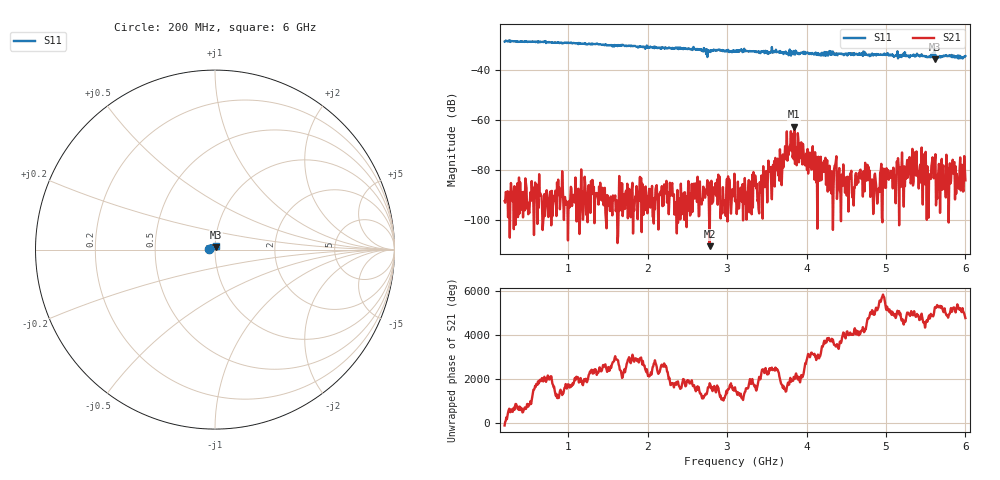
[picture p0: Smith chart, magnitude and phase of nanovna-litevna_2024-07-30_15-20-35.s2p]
! NanoVNA-App by OneOfEleven et al v1.1.209 (+OD15)
! Date: 2024-07-30 15:20:38
! Start: 200MHz Stop: 6GHz Points: 801
! S-Parameter data: F S11 S21 S12 S22
# Hz S RI R 50
!  Frequency  S11_Real  S11_Imag  S21_Real  S21_Imag  S12_Real  S12_Imag  S22_Real  S22_Imag
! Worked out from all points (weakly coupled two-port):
!   801 points, 200 MHz to 6 GHz, reference 50 ohm
!   highest |S21| = -62.81 dB at 3.847 GHz (marker M1); lowest = -110.4 dB at 2.781 GHz (marker M2)
!   lowest |S11| = -35.9 dB at 5.616 GHz (marker M3), VSWR 1.03, Z = 50.6 + j1.5 ohm
!   |S11| at or under -10 dB: start of sweep to end of sweep
!   S12 and S22 are empty: the file has one direction only
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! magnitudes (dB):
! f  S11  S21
! 200 MHz  -28.8  -92.4
! 1.171 GHz  -29.6  -91.3
! 2.136 GHz  -31.3  -103.7
! 2.781 GHz  -32.4  -110.4
! 3.1 GHz  -32.7  -92.5
! 3.557 GHz  -32.8  -86.6
! 3.687 GHz  -33.2  -86.1
! 3.774 GHz  -34.3  -74.0
! 3.818 GHz  -33.4  -65.6
! 3.847 GHz  -33.7  -62.8
! 3.912 GHz  -33.4  -69.4
! 3.999 GHz  -33.4  -73.4
! 4.072 GHz  -33.4  -72.5
! 4.115 GHz  -33.2  -80.0
! 4.296 GHz  -32.6  -88.1
! 5.036 GHz  -34.4  -83.9
! 5.355 GHz  -34.6  -73.0
! 5.391 GHz  -33.6  -80.7
! 5.471 GHz  -34.6  -73.8
! 5.536 GHz  -35.0  -99.1
! 5.616 GHz  -35.9  -76.4
! 6 GHz  -34.6  -84.1
